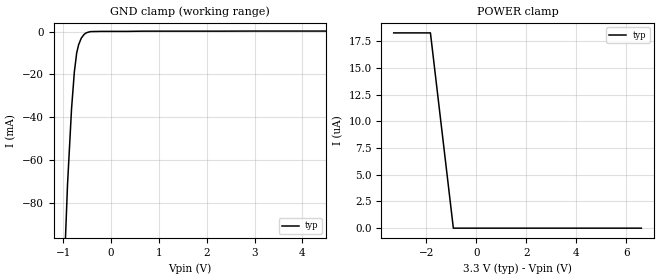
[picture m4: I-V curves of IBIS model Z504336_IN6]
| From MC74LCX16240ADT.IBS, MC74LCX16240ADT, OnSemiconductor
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| (C) COPYRIGHT 1993-2000
| MENTOR GRAPHICS CORPORATION
| ICX STANDARD LIBRARY, ICX PROJECT MODELING,
| ICX CUSTOM MODELING, ICX VENDOR MODEL
| ALL RIGHTS RESERVED.
| THE FOLLOWING ARE TRADEMARKS OR SERVICE MARKS OF
| MENTOR GRAPHICS CORPORATION:ICX (R), ICX STANDARD
| LIBRARY(R), ICX PROJECT MODELING(R), ICX CUSTOM
| MODELING(R), qualityIBIS(TM), MODELVIEWER(TM),
| AND MODELEDITOR(TM)
| ALL COPIES OF SOFTWARE, INCLUDING BUT NOT LIMITED TO
| ANY MODIFICATIONS, ENHANCEMENTS OR DERIVATIVE WORKS,
| MUST CONTAIN ALL MENTOR GRAPHICS CORPORATION'S
| NOTICES AND LEGENDS, INCLUDING THOSE EMBEDDED IN
| SOFTWARE AND THOSE AFFIXED TO SOFTWARE MEDIUM
| AND CONTAINER, AS RECEIVED FROM MENTOR GRAPHICS
| CORPORATION.
| Model Application Version 1.89 2/18/99.
[Model] Z504336_IN6
Model_type Input
Vinl = 800.0mV
Vinh = 2.000V
C_comp 4.000pF NA NA
| variable typ   min   max
[Voltage Range] 3.300V NA NA
[GND Clamp Reference] 0.000V NA NA
[POWER Clamp Reference] 3.300V NA NA
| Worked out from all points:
|   GND clamp passes 1 mA (typ) near -0.55 V on its own axis
[GND Clamp]
-3.3V     -1.738A    NA         NA
-1.108V   -184.1mA   NA         NA
-913mV    -71.09mA   NA         NA
-829.4mV  -36.03mA   NA         NA
-770.1mV  -18.7mA    NA         NA
-721mV    -9.861mA   NA         NA
-680.7mV  -6.106mA   NA         NA
-625mV    -3.057mA   NA         NA
-531.8mV  -726.1uA   NA         NA
-429.7mV  -16.33uA   NA         NA
-214.8mV  83.39uA    NA         NA
6.6V      226.7uA    NA         NA
[POWER Clamp]
-3.3V     18.3uA     NA         NA
-1.832V   18.3uA     NA         NA
-916mV    0A         NA         NA
6.6V      0A         NA         NA
